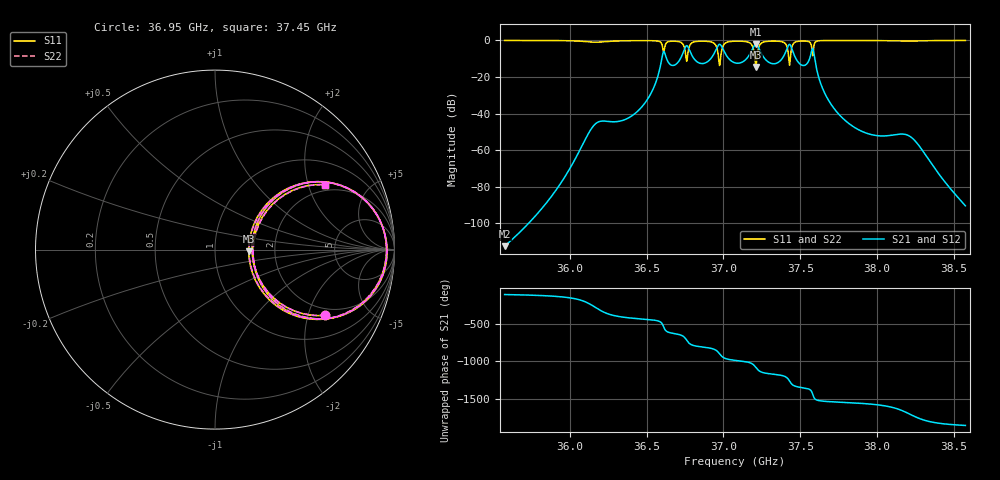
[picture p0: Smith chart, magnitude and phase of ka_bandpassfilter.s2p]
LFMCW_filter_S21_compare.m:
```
%%%%%%%%%%%%%%%%%%%%%%%%%%%%%%%%%%%%%%%%%%%%%%%%%%%%%%%%%%%%%%%%%%%%%%%%%%
% LFMCW + S21 滤波器：读取介质 S21，仿真 LFMCW 经滤波器传播，
% 用 LM_MCMC 流程做特征提取（滑动窗 + MDL + ESPRIT），
% 将提取的时延点与 S21 群时延曲线对比（不做参数反演）
%%%%%%%%%%%%%%%%%%%%%%%%%%%%%%%%%%%%%%%%%%%%%%%%%%%%%%%%%%%%%%%%%%%%%%%%%%

clc; clear; close all;

%% ========== 1. 参数（与 LM_MCMC.m 对齐） ==========
s2p_filename = 'ka_bandpassfilter.s2p';

% LFMCW 雷达参数（与 LM_MCMC 一致；T_m 略短以加速本脚本）
f_start = 34.2e9;             % Hz
f_end   = 37.4e9;             % Hz
T_m     = 20e-6;              % s（缩短以加速，仍足够提取时延-频率关系）
B       = f_end - f_start;
K       = B / T_m;
f_s     = 80e9;               % 采样率 Hz

t_s     = 1 / f_s;
N       = round(T_m / t_s);
t       = (0 : N-1) * t_s;

% FFT 频率轴（含负频率，与 LM_MCMC 一致）
f_fft   = (0 : N-1) * (f_s / N);
idx_neg = f_fft >= f_s/2;
f_fft(idx_neg) = f_fft(idx_neg) - f_s;
omega_fft = 2*pi*f_fft;

%% ========== 2. 读取 .s2p（MA 格式）并解析 S21 ==========
if ~exist(s2p_filename, 'file')
    error('找不到 %s。请将 .s2p 放在当前目录或修改 s2p_filename。', s2p_filename);
end

fid = fopen(s2p_filename, 'r');
freq_GHz = [];
s21_mag  = [];
s21_ang_deg = [];

while ~feof(fid)
    line = strtrim(fgetl(fid));
    if isempty(line), continue; end
    if startsWith(line, '!') || startsWith(line, '#')
        continue;
    end
    cols = textscan(line, '%f');
    vals = cols{1};
    if numel(vals) >= 5
        freq_GHz(end+1, 1) = vals(1);
        s21_mag(end+1, 1)  = vals(4);
        s21_ang_deg(end+1, 1) = vals(5);
    end
end
fclose(fid);

freq_s2p = freq_GHz * 1e9;   % Hz
S21_complex = s21_mag .* exp(1j * deg2rad(s21_ang_deg));

fprintf('S2P 读取完成: %d 点, 频率范围 %.3f–%.3f GHz\n', ...
    length(freq_s2p), min(freq_s2p)/1e9, max(freq_s2p)/1e9);

%% ========== 3. 由 S21 计算群时延 (回归稳健版) ==========
phi_s21 = angle(S21_complex);
phi_unwrap = unwrap(phi_s21);

% 1. 先对相位做一点点预平滑 (去除极微小的量化噪声)
phi_unwrap = smoothdata(phi_unwrap, 'rloess', 5);

% 2. 使用 gradient 计算导数 (它能自动处理非均匀频率间隔)
dphi = gradient(phi_unwrap);
df   = gradient(freq_s2p);
tau_g_s21 = - (dphi ./ df) / (2*pi); % s

% 3. 后处理平滑 (关键步骤)
% 根据数据点密度自适应窗口：约占总点数的 2%
span = round(length(freq_s2p) * 0.02);
if span < 5, span = 5; end
% 使用 'gaussian' 或 'rloess' 能够很好地保留波峰形状同时滤除毛刺
tau_g_ns = smoothdata(tau_g_s21 * 1e9, 'gaussian', span);

fprintf('群时延计算完成 (Gradient + Gaussian Smooth)\n');

%% ========== 4. LFMCW 发射信号生成（与 LM_MCMC 一致） ==========
f_t = f_start + K * mod(t, T_m);
phi_t = 2*pi * cumsum(f_t) * t_s;
s_tx = cos(phi_t);
S_tx = fft(s_tx);

%% ========== 5. 用 S21 作为信道 H(f)：向量化插值到 FFT 频率轴 ==========
% S2P 仅含正频率；实系统 H(-f)=conj(H(f))（避免百万次循环）
H_fft = zeros(size(f_fft));
f_s2p_min = min(freq_s2p);
f_s2p_max = max(freq_s2p);

pos_idx = (f_fft >= f_s2p_min) & (f_fft <= f_s2p_max);
neg_idx = (-f_fft >= f_s2p_min) & (-f_fft <= f_s2p_max);
H_fft(pos_idx) = interp1(freq_s2p, S21_complex, f_fft(pos_idx), 'linear', 'extrap');
H_fft(neg_idx) = conj(interp1(freq_s2p, S21_complex, -f_fft(neg_idx), 'linear', 'extrap'));

% 应用信道
S_rx = S_tx .* H_fft;
s_rx = real(ifft(S_rx));

%% ========== 6. 混频与低通（与 LM_MCMC 一致） ==========
s_mix = s_tx .* s_rx;
fc_lp = 100e6;
[b_lp, a_lp] = butter(4, fc_lp/(f_s/2));
s_if = filtfilt(b_lp, a_lp, s_mix);

%% ========== 7. 特征提取：滑动窗 + MDL + TLS-ESPRIT（与 LM_MCMC 一致） ==========
decimation_factor = 200;
f_s_proc = f_s / decimation_factor;   % 400 MHz
s_proc = s_if(1 : decimation_factor : end);
t_proc = t(1 : decimation_factor : end);
N_proc = length(s_proc);

% 【核心修改】寻找平衡点
% 太小(0.8us) -> 容不下长波(低频差拍)，算不出时延
% 太大(8.0us) -> 频率分辨率低，双峰会被抹平
% 折中值: 2.4us。对于 5ns 时延 (800kHz差拍)，能包含约 2 个周期，ESPRIT 可解。
win_time = 2.4e-6;

win_len = round(win_time * f_s_proc);
step_len = round(win_len / 4);
L_sub = round(win_len / 2);

feature_f_probe = [];
feature_tau_absolute = [];
feature_amplitude = [];

num_windows = floor((N_proc - win_len) / step_len) + 1;
hWait = waitbar(0, 'ESPRIT 特征提取中...');

for i = 1 : num_windows
    idx_start = (i-1)*step_len + 1;
    idx_end = idx_start + win_len - 1;
    if idx_end > N_proc, break; end

    x_window = s_proc(idx_start : idx_end);
    t_center = t_proc(idx_start + round(win_len/2));
    f_current_probe = f_start + K * t_center;

    if t_center > 0.95*T_m || t_center < 0.05*T_m, continue; end

    M_sub = win_len - L_sub + 1;
    X_hankel = zeros(L_sub, M_sub);
    for k = 1 : M_sub
        X_hankel(:, k) = x_window(k : k+L_sub-1).';
    end

    R_f = (X_hankel * X_hankel') / M_sub;
    J_mat = fliplr(eye(L_sub));
    R_x = (R_f + J_mat * conj(R_f) * J_mat) / 2;

    [eig_vecs, eig_vals_mat] = eig(R_x);
    lambda = diag(eig_vals_mat);
    [lambda, sort_idx] = sort(lambda, 'descend');
    eig_vecs = eig_vecs(:, sort_idx);

    % MDL
    p = length(lambda);
    N_snaps = M_sub;
    mdl_cost = zeros(p, 1);
    for k = 0 : p-1
        noise_evals = lambda(k+1:end);
        noise_evals(noise_evals < 1e-15) = 1e-15;
        g_mean = prod(noise_evals)^(1/length(noise_evals));
        a_mean = mean(noise_evals);
        term1 = -(p-k)*N_snaps*log(g_mean/a_mean);
        term2 = 0.5*k*(2*p-k)*log(N_snaps);
        mdl_cost(k+1) = term1 + term2;
    end
    [~, min_idx] = min(mdl_cost);
    k_est = min_idx - 1;
    num_sources = max(1, min(k_est, 3));

    % TLS-ESPRIT
    Us = eig_vecs(:, 1:num_sources);
    psi = (Us(1:end-1,:)' * Us(1:end-1,:)) \ (Us(1:end-1,:)' * Us(2:end,:));
    z_roots = eig(psi);
    est_freqs = abs(angle(z_roots) * f_s_proc / (2*pi));

    % 稍微放宽一点低频掩码，防止把真实的低频点滤掉
    valid_mask = (est_freqs > 20e3) & (est_freqs < 20e6);
    valid_freqs = est_freqs(valid_mask);
    if isempty(valid_freqs), continue; end

    [f_beat_est, ~] = min(valid_freqs);
    amp_est = rms(x_window);
    tau_est = f_beat_est / K;

    feature_f_probe   = [feature_f_probe,   f_current_probe];
    feature_tau_absolute = [feature_tau_absolute, tau_est];
    feature_amplitude = [feature_amplitude, amp_est];

    if mod(i, 10) == 0 || i == num_windows
        waitbar(i/num_windows, hWait);
    end
end
if ishandle(hWait), close(hWait); end

fprintf('特征提取完成: %d 个 (f_probe, tau) 点\n', length(feature_f_probe));

%% ========== 8. 绘图：S21 群时延曲线 vs LFMCW 提取的时延点 ==========
% 中英混排：坐标轴用 Times New Roman，中文用 SimHei
figure('Color', 'w', 'Position', [100 100 900 520]);

% 先设坐标轴字体
set(gca, 'FontName', 'Times New Roman', 'FontSize', 11);
hold on;

% 1. 绘制 S21 群时延曲线
tau_g_ns_plot = movmedian(tau_g_ns, 11);
plot(freq_s2p/1e9, tau_g_ns_plot, 'r-', 'LineWidth', 2, 'DisplayName', 'S21 群时延');

% 2. 绘制 LFMCW 提取的时延点
valid_delay = feature_tau_absolute > 0 & feature_tau_absolute < 500e-9;
scatter(feature_f_probe(valid_delay)/1e9, feature_tau_absolute(valid_delay)*1e9, 24, 'b', 'filled', ...
    'DisplayName', 'LFMCW 特征时延');

xlabel('频率 (GHz)', 'FontName', 'SimHei', 'FontSize', 12);
ylabel('时延 (ns)', 'FontName', 'SimHei', 'FontSize', 12);
title('S21 群时延与 LFMCW 提取时延对比（滤波器介质）', 'FontName', 'SimHei', 'FontSize', 14);
legend('Location', 'best', 'FontName', 'SimHei', 'FontSize', 11);
grid on;
xlim([min(freq_s2p)/1e9, max(freq_s2p)/1e9]);

% ====== 【核心修正】分步处理，确保 100% 是列向量再拼接 ======
% 第一步：确保 S21 数据是列向量
vec1 = tau_g_ns(:);

% 第二步：提取有效点 -> 确保转为列向量 -> 乘以单位
vals_extracted = feature_tau_absolute(valid_delay);
vec2 = vals_extracted(:) * 1e9;

% 第三步：拼接（现在两个都是 n x 1，绝对安全）
tau_plot_vals = [vec1; vec2];
% ========================================================

% 过滤无穷大值并设置 Y 轴范围
tau_plot_vals = tau_plot_vals(isfinite(tau_plot_vals));
if ~isempty(tau_plot_vals)
    ylim([max(0, min(tau_plot_vals) - 2), max(tau_plot_vals) + 5]);
end
hold off;

% 保存
saveas(gcf, 'groupdelay_vs_lfmcw_extracted.png');
saveas(gcf, 'groupdelay_vs_lfmcw_extracted.fig');
fprintf('已保存: groupdelay_vs_lfmcw_extracted.png / .fig\n');

%% ========== 9. 可选：将提取点与 S21 群时延插值对比（数值） ==========
if ~isempty(feature_f_probe) && sum(valid_delay) > 0
    f_valid = feature_f_probe(valid_delay);
    tau_valid = feature_tau_absolute(valid_delay) * 1e9;

    % 修正：将 'nan' 改为 NaN (数值常量)
    % 语法: interp1(x, v, xq, method, extrapolation_value)
    tau_s21_at_probe = interp1(freq_s2p/1e9, tau_g_ns, f_valid/1e9, 'linear', NaN);

    err_ns = tau_valid - tau_s21_at_probe;

    fprintf('LFMCW 时延 vs S21 群时延: 平均偏差 %.3f ns, 标准差 %.3f ns\n', ...
        mean(err_ns, 'omitnan'), std(err_ns, 'omitnan'));
end
```
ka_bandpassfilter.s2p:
! TOUCHSTONE file generated by CST MICROWAVE STUDIO
! Date and time: Fri Jan 30 17:23:11 2026
! Project name: ka_bandpassfilter_Fest3D.cst
! Header version: 2018
! Port assignment regex: !\s*Touchstone port\s*([0-9]+)\s*=\s*(CST MWS port|CST DS port)\s*([0-9]+|Zmin|Zmax)\s*\(\"(.*)\"\)(\s*mode\s*([0-9]+))?.*
! Touchstone port assignment:
! Touchstone port 1 = CST MWS port 1 ("")
! Touchstone port 2 = CST MWS port 2 ("")
# GHz S MA R 50
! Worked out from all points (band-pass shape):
!   5001 points, 35.58 GHz to 38.58 GHz, reference 50 ohm
!   highest |S21| = -1.90 dB at 37.21 GHz (marker M1); lowest = -112.5 dB at 35.58 GHz (marker M2)
!   |S21| within 3 dB of the highest: 36.95226 GHz to 36.99738 GHz (45.12 MHz wide, 0.122 % of centre); 37.1874 GHz to 37.23385 GHz (46.45 MHz wide, 0.125 % of centre)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
!   lowest |S11| = -14.5 dB at 37.21 GHz (marker M3), VSWR 1.46, Z = 73.1 - j1.34 ohm
!   |S11| at or under -10 dB: 36.96866 GHz to 36.9805 GHz (11.84 MHz wide, 0.032 % of centre); 37.20463 GHz to 37.21696 GHz (12.33 MHz wide, 0.0331 % of centre); 37.42521 GHz to 37.43438 GHz (9.171 MHz wide, 0.0245 % of centre)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
!   |S22| runs from -14.4 to 0.0 dB; largest |S21 - S12| = 1e-11
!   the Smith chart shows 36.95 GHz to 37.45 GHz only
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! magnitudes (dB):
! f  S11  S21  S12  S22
! 35.58 GHz  0.0  -112.5  -112.5  0.0
! 35.93 GHz  -0.1  -79.8  -79.8  -0.1
! 36.16 GHz  -1.0  -45.8  -45.8  -1.0
! 36.48 GHz  -0.1  -35.3  -35.3  -0.1
! 36.61 GHz  -6.0  -6.0  -6.0  -6.1
! 37.08 GHz  -0.4  -12.3  -12.3  -0.4
! 37.21 GHz  -14.5  -1.9  -1.9  -14.4
! 37.58 GHz  -8.3  -4.2  -4.2  -8.2
! 37.79 GHz  0.0  -43.7  -43.7  0.0
! 38.21 GHz  -0.3  -52.1  -52.1  -0.4
! 38.58 GHz  0.0  -90.4  -90.4  0.0
